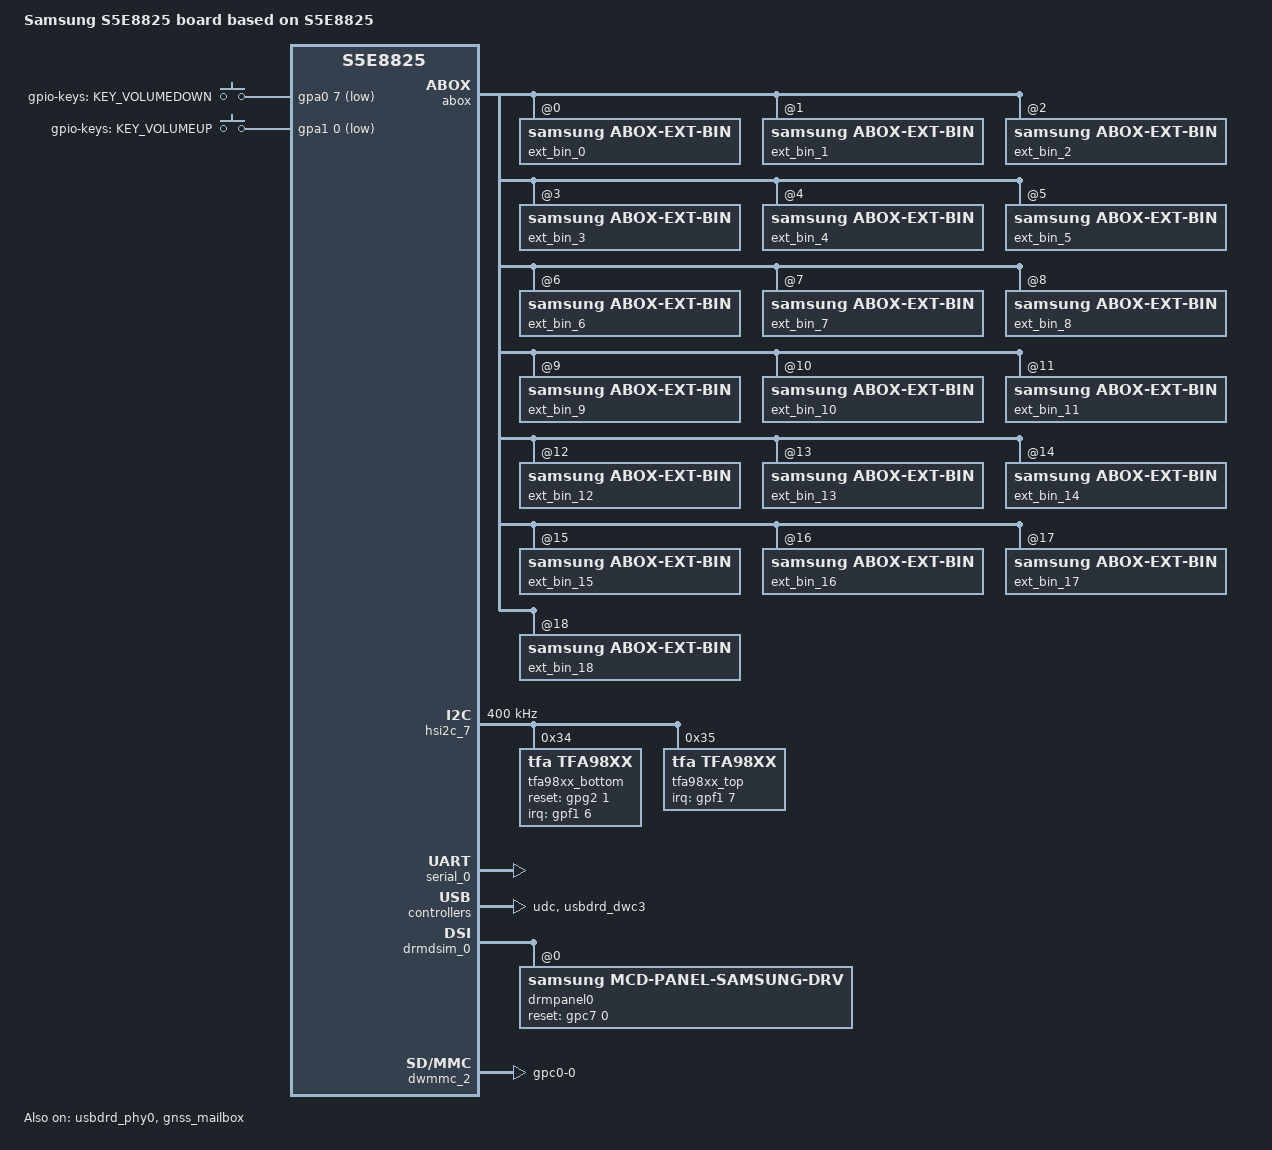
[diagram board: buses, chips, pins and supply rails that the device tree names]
/*
 * SAMSUNG S5E8825 SoC device tree source
 *
 * Copyright (c) 2020 Samsung Electronics Co., Ltd.
 *             http://www.samsung.com
 *
 * SAMSUNG S5E8825 SoC device nodes are listed in this file.
 * EXYNOS based board files can include this file and provide
 * values for board specfic bindings.
 *
 * This program is free software; you can redistribute it and/or modify
 * it under the terms of the GNU General Public License version 2 as
 * published by the Free Software Foundation.
 */

#include <dt-bindings/interrupt-controller/s5e8825.h>
#include <dt-bindings/gpio/gpio.h>
#include "../../exynos/board/univ/s5e8825-universal8825-cp-s5308ap-sipc.dtsi"
#include "../../exynos/board/univ/s5e8825-universal8825-dit.dtsi"
#include "../s5e8825_common.dtsi"
#include "../exynos_gpio_config_macros.dtsi"
#include "s5e8825-a53x_freq_hop.dtsi"
#include "../s5e8825-dsim_pll_timing.dtsi"
#include "../s5e8825_wakeup_cpu_allocator.dtsi"
#include "../s5e8825-argos.dtsi"

#define BOARD_ID        0x1

/ {
	compatible = "samsung,armv8", "samsung,s5e8825";
	board_id = <BOARD_ID>;
	board_rev = <0x0>;
	edtbo-rev = <0x0>;

	fragment@model {
		target-path = "/";
		__overlay__ {
			#address-cells = <2>;
			#size-cells = <1>;

			model = "Samsung S5E8825 board based on S5E8825";

			gpio_keys {
				status = "okay";
				compatible = "gpio-keys";
				pinctrl-names = "default";
				pinctrl-0 = <&key_voldown &key_volup>;

				button@2 {
					label = "gpio-keys: KEY_VOLUMEDOWN";
					linux,code = <114>;
					gpios = <&gpa0 7 0xf>;
					gpio-key,wakeup;
					debounce-interval = <0x0f>;
				};
				button@3 {
					label = "gpio-keys: KEY_VOLUMEUP";
					linux,code = <115>;
					gpios = <&gpa1 0 0xf>;
					gpio-key,wakeup;
					debounce-interval = <0x0f>;
				};
			};

			sec-reboot {
				compatible = "samsung,sec-reboot";
				samsung,syscon-phandle = <&pmu_system_controller>;
				shutdown-offset = <0x030C>; /* PS_HOLD_CONTROL */
				shutdown-trigger = <0x100>; /* PS_HOLD_DATA_BIT */
				magic-inform = <0x0808>; /* INFORM2 */
				panic-inform = <0x080C>; /* INFORM3 */
			};

			usb_hs_tune:hs_tune {
				hs_tune_cnt = <7>;
				/* value = <device host> */
				hs_tune1 {
					tune_name = "tx_pre_emp";
					tune_value = <0x1 0x1>;
				};

				hs_tune2 {
					tune_name = "tx_vref";
					tune_value = <0xA 0xA>;
				};

				hs_tune3 {
					tune_name = "rx_sqrx";
					tune_value = <0x5 0x5>;
				};

				hs_tune4 {
					tune_name = "utmi_clk";
					tune_value = <0x1 0x1>;
				};

				hs_tune5 {
					tune_name = "compdis";
					tune_value = <0x7 0x7>;
				};

				hs_tune6 {
					tune_name = "tx_res";
					tune_value = <0x3 0x3>;
				};

				hs_tune7 {
					tune_name = "tx_rise";
					tune_value = <0x1 0x1>;
				};
			};

			gnss_mailbox: gnss_mailbox {
				status = "okay";
				compatible = "samsung,exynos-gnss-mailbox";
				reg = <0x0 0x11980000 0x200>; /* MAILBOX AP2GNSS */
				interrupt-parent = <&gic>;
				interrupts = <GIC_SPI INTREQ__MAILBOX_GNSS2AP IRQ_TYPE_LEVEL_HIGH>;
				mbox,name = "gnss_mailbox";
				mbox,id = <0>;
				num_shared_reg = <4>;
				shared_reg_offset = <0x100>;
				use_sw_reset_reg = <0>;
			};

			gnssif {
				status = "okay";
				compatible = "samsung,exynos-gnss";
				interrupt-parent = <&gic>;
				interrupts = <GIC_SPI INTREQ__ALIVE_GNSS_ACTIVE IRQ_TYPE_LEVEL_HIGH>,
					<GIC_SPI INTREQ__GNSS_WDOG_RESET IRQ_TYPE_EDGE_RISING>,
					<GIC_SPI INTREQ__GNSS_WAKEUP_INT IRQ_TYPE_LEVEL_HIGH>,
					<GIC_SPI INTREQ__GNSS_SW_INT IRQ_TYPE_EDGE_RISING>;
				interrupt-names = "ACTIVE", "WATCHDOG", "WAKEUP", "SW_INIT";
				shmem,name = "KEPLER";
				device_node_name = "gnss_ipc";
				/* Mailbox */
				mbox_info = <&gnss_mailbox>;
				/* ap2gnss */
				mbx,int_bcmd = <0>;
				mbx,int_req_fault_info = <1>;
				mbx,int_ipc_msg = <2>;
				mbx,int_ack_wake_set = <3>;
				mbx,int_ack_wake_clr = <4>;
				/* gnss2ap */
				mbx,irq_bcmd = <0>;
				mbx,irq_rsp_fault_info = <1>;
				mbx,irq_ipc_msg = <2>;
				mbx,irq_req_wake_clr = <4>;
				mbx,irq_simple_lock = <15>;
				mbx,reg_bcmd_ctrl = <0>, <1>, <2>, <3>;
				/* Memory */
				memory-region = <&gnss_rmem>;
				reg_rx_ipc_msg = <1 5>;
				reg_tx_ipc_msg = <1 4>;
				reg_rx_head = <1 3>;
				reg_rx_tail = <1 2>;
				reg_tx_head = <1 1>;
				reg_tx_tail = <1 0>;
				fault_info = <1 0x200000 0x180000>;
				shmem,code_offset = <0x00000000>;
				shmem,code_allowed_size = <0x00380000>;
				shmem,ipc_offset = <0x00380000>;
				shmem,ipc_size = <0x00080000>;
				shmem,ipc_rx_offset = <0x00000000>;
				shmem,ipc_rx_size = <0x00040000>;
				shmem,ipc_tx_offset = <0x00040000>;
				shmem,ipc_tx_size = <0x0003FF80>;
				shmem,ipc_reg_offset = <0x0007FF80>;
				shmem,ipc_reg_size = <0x00000080>; /* can afford 32 regs */
			}; /* end of gnssif */

			dummy_audio_codec: audio-codec-dummy {
				compatible = "snd-soc-dummy";
				#sound-dai-cells = <0>;
			};

			dummy_audio_cpu: audio-cpu-dummy {
				compatible = "samsung,dummy-cpu";
				#sound-dai-cells = <0>;
			};

			abox_synchronized_ipc: abox_synchronized_ipc {
				compatible = "samsung,abox-synchronized-ipc";
				#sound-dai-cells = <1>;
				abox = <&abox>;
			};

			sec-audio-sysfs {
				compatible = "samsung,audio-sysfs";
				status = "okay";
				audio,no-earjack;
				audio,num-amp = <2>;
			};

			sec-audio-debug {
				compatible = "samsung,audio-debug";
				status = "okay";
				abox_dbg_size_min = <0x600000>;
				abox_slog_size_min = <0x0>;
			};

			sound {
				compatible = "samsung,exynos8825-audio";

				samsung,routing =
					"PAD DPDM", "DMIC1",
					"PAD DPDM", "DMIC2",
					"BLUETOOTH SPK", "ABOX UAIF3 Playback",
					"ABOX UAIF3 Capture", "BLUETOOTH MIC",
					"USB SPK", "ABOX USB Playback",
					"ABOX USB Capture", "USB MIC",
					"FWD SPK", "ABOX FWD Playback",
					"ABOX FWD Capture", "FWD MIC",
					"VTS Virtual Output", "VTS Virtual Output Mux",
					"ABOX SPDY Capture", "VINPUT_FM";

				samsung,aux = <&abox_effect &abox_tplg>;

				rdma0 {
					cpu {
						sound-dai = <&abox_rdma_0 0>;
					};
					platform {
						sound-dai = <&abox_rdma_0 0>;
					};
				};
				rdma1 {
					cpu {
						sound-dai = <&abox_rdma_1 0>;
					};
					platform {
						sound-dai = <&abox_rdma_1 0>;
					};
				};
				rdma2 {
					cpu {
						sound-dai = <&abox_rdma_2 0>;
					};
					platform {
						sound-dai = <&abox_rdma_2 0>;
					};
				};
				rdma3 {
					cpu {
						sound-dai = <&abox_rdma_3 0>;
					};
					platform {
						sound-dai = <&abox_rdma_3 0>;
					};
				};
				rdma4 {
					cpu {
						sound-dai = <&abox_rdma_4 0>;
					};
					platform {
						sound-dai = <&abox_rdma_4 0>;
					};
				};
				rdma5 {
					cpu {
						sound-dai = <&abox_rdma_5 0>;
					};
					platform {
						sound-dai = <&abox_rdma_5 0>;
					};
				};
				rdma6 {
					cpu {
						sound-dai = <&abox_rdma_6 0>;
					};
					platform {
						sound-dai = <&abox_rdma_6 0>;
					};
				};
				rdma7 {
					cpu {
						sound-dai = <&abox_rdma_7 0>;
					};
					platform {
						sound-dai = <&abox_rdma_7 0>;
					};
				};
				rdma8 {
					cpu {
						sound-dai = <&abox_rdma_8 0>;
					};
					platform {
						sound-dai = <&abox_rdma_8 0>;
					};
				};
				rdma9 {
					cpu {
						sound-dai = <&abox_rdma_9 0>;
					};
					platform {
						sound-dai = <&abox_rdma_9 0>;
					};
				};
				rdma10 {
					cpu {
						sound-dai = <&abox_rdma_10 0>;
					};
					platform {
						sound-dai = <&abox_rdma_10 0>;
					};
				};
				rdma11 {
					cpu {
						sound-dai = <&abox_rdma_11 0>;
					};
					platform {
						sound-dai = <&abox_rdma_11 0>;
					};
				};
				wdma0 {
					cpu {
						sound-dai = <&abox_wdma_0 0>;
					};
					platform {
						sound-dai = <&abox_wdma_0 0>;
					};
				};
				wdma1 {
					cpu {
						sound-dai = <&abox_wdma_1 0>;
					};
					platform {
						sound-dai = <&abox_wdma_1 0>;
					};
				};
				wdma2 {
					cpu {
						sound-dai = <&abox_wdma_2 0>;
					};
					platform {
						sound-dai = <&abox_wdma_2 0>;
					};
				};
				wdma3 {
					cpu {
						sound-dai = <&abox_wdma_3 0>;
					};
					platform {
						sound-dai = <&abox_wdma_3 0>;
					};
				};
				wdma4 {
					cpu {
						sound-dai = <&abox_wdma_4 0>;
					};
					platform {
						sound-dai = <&abox_wdma_4 0>;
					};
				};
				wdma5 {
					cpu {
						sound-dai = <&abox_wdma_5 0>;
					};
					platform {
						sound-dai = <&abox_wdma_5 0>;
					};
				};
				wdma6 {
					cpu {
						sound-dai = <&abox_wdma_6 0>;
					};
					platform {
						sound-dai = <&abox_wdma_6 0>;
					};
				};
				wdma7 {
					cpu {
						sound-dai = <&abox_wdma_7 0>;
					};
					platform {
						sound-dai = <&abox_wdma_7 0>;
					};
				};
				wdma8 {
					cpu {
						sound-dai = <&abox_wdma_8 0>;
					};
					platform {
						sound-dai = <&abox_wdma_8 0>;
					};
				};
				wdma9 {
					cpu {
						sound-dai = <&abox_wdma_9 0>;
					};
					platform {
						sound-dai = <&abox_wdma_9 0>;
					};
				};
				wdma10 {
					cpu {
						sound-dai = <&abox_wdma_10 0>;
					};
					platform {
						sound-dai = <&abox_wdma_10 0>;
					};
				};
				wdma11 {
					cpu {
						sound-dai = <&abox_wdma_11 0>;
					};
					platform {
						sound-dai = <&abox_wdma_11 0>;
					};
				};
				vts0 {
					cpu {
						sound-dai = <&vts 0>;
					};
					platform {
						sound-dai = <&vts_dma0>;
					};
				};
				vts1 {
					cpu {
						sound-dai = <&vts 1>;
					};
					platform {
						sound-dai = <&vts_dma1>;
					};
				};
/*
				dp0_audio {
					cpu {
						sound-dai = <&displayport_adma 0>;
					};
					platform {
						sound-dai = <&dp_dma0>;
					};
				};
				dp1_audio {
					cpu {
						sound-dai = <&displayport_adma 1 >;
					};
					platform {
						sound-dai = <&dp_dma1>;
					};
				};
*/
				dual0 {
					cpu {
						sound-dai = <&abox_dual_0>;
					};
					platform {
						sound-dai = <&abox_dual_0>;
					};
				};
				dual1 {
					cpu {
						sound-dai = <&abox_dual_1>;
					};
					platform {
						sound-dai = <&abox_dual_1>;
					};
				};
				dual2 {
					cpu {
						sound-dai = <&abox_dual_2>;
					};
					platform {
						sound-dai = <&abox_dual_2>;
					};
				};
				dual3 {
					cpu {
						sound-dai = <&abox_dual_3>;
					};
					platform {
						sound-dai = <&abox_dual_3>;
					};
				};
				dual4 {
					cpu {
						sound-dai = <&abox_dual_4>;
					};
					platform {
						sound-dai = <&abox_dual_4>;
					};
				};
				dual5 {
					cpu {
						sound-dai = <&abox_dual_5>;
					};
					platform {
						sound-dai = <&abox_dual_5>;
					};
				};
				dual6 {
					cpu {
						sound-dai = <&abox_dual_6>;
					};
					platform {
						sound-dai = <&abox_dual_6>;
					};
				};
				dual7 {
					cpu {
						sound-dai = <&abox_dual_7>;
					};
					platform {
						sound-dai = <&abox_dual_7>;
					};
				};
				dual8 {
					cpu {
						sound-dai = <&abox_dual_8>;
					};
					platform {
						sound-dai = <&abox_dual_8>;
					};
				};
				dual9 {
					cpu {
						sound-dai = <&abox_dual_9>;
					};
					platform {
						sound-dai = <&abox_dual_9>;
					};
				};
				dual10 {
					cpu {
						sound-dai = <&abox_dual_10>;
					};
					platform {
						sound-dai = <&abox_dual_10>;
					};
				};
				dual11 {
					cpu {
						sound-dai = <&abox_dual_11>;
					};
					platform {
						sound-dai = <&abox_dual_11>;
					};
				};
				ddma0 {
					cpu {
						sound-dai = <&abox_ddma_0>;
					};
					platform {
						sound-dai = <&abox_ddma_0>;
					};
				};
				ddma1 {
					cpu {
						sound-dai = <&abox_ddma_1>;
					};
					platform {
						sound-dai = <&abox_ddma_1>;
					};
				};
				ddma2 {
					cpu {
						sound-dai = <&abox_ddma_2>;
					};
					platform {
						sound-dai = <&abox_ddma_2>;
					};
				};
				ddma3 {
					cpu {
						sound-dai = <&abox_ddma_3>;
					};
					platform {
						sound-dai = <&abox_ddma_3>;
					};
				};
				ddma4 {
					cpu {
						sound-dai = <&abox_ddma_4>;
					};
					platform {
						sound-dai = <&abox_ddma_4>;
					};
				};
				ddma5 {
					cpu {
						sound-dai = <&abox_ddma_5>;
					};
					platform {
						sound-dai = <&abox_ddma_5>;
					};
				};
				uaif0 {
					format = "i2s";
					cpu {
						sound-dai = <&abox_uaif_0>;
					};
				};
				uaif1 {
					format = "i2s";
					cpu {
						sound-dai = <&abox_uaif_1>;
					};
					codec {
						sound-dai = <&tfa98xx_bottom 0 &tfa98xx_top 0>;
					};
				};
				uaif2 {
					format = "dsp_a";
					cpu {
						sound-dai = <&abox_uaif_2>;
					};
				};
				uaif3 {
					format = "i2s";
					bitclock-master;
					frame-master;
					cpu {
						sound-dai = <&abox_uaif_3>;
					};
				};
				uaif4 {
					format = "dsp_a";
					cpu {
						sound-dai = <&abox_uaif_4>;
					};
				};
				uaif5 {
					format = "dsp_a";
					cpu {
						sound-dai = <&abox_uaif_5>;
					};
				};
				uaif6 {
					format = "dsp_a";
					bitclock-master;
					bitclock-inversion;
					frame-master;

					cpu {
						sound-dai = <&abox_uaif_6>;
					};
					codec {
						sound-dai = <&vts_s_lif 0>;
					};
				};
				dsif0 {
					format = "pdm";
					cpu {
						sound-dai = <&abox_dsif>;
					};
				};
				spdy {
					cpu {
						sound-dai = <&abox_spdy>;
					};
				};
				udma_rd0 {
					cpu {
						sound-dai = <&abox_udma_rd_0>;
					};
				};
				udma_rd1 {
					cpu {
						sound-dai = <&abox_udma_rd_1>;
					};
				};
				udma_wr0 {
					cpu {
						sound-dai = <&abox_udma_wr_0>;
					};
				};
				udma_wr1 {
					cpu {
						sound-dai = <&abox_udma_wr_1>;
					};
				};
				udma_wr_dual0 {
					cpu {
						sound-dai = <&abox_udma_wr_dual_0>;
					};
				};
				udma_wr_dual1 {
					cpu {
						sound-dai = <&abox_udma_wr_dual_1>;
					};
				};
				udma_wr_dbg0 {
					cpu {
						sound-dai = <&abox_udma_wr_debug_0>;
					};
				};
				rdma0_be {
					cpu {
						sound-dai = <&abox_rdma_0 1>;
					};
					platform {
						sound-dai = <&abox_rdma_0 1>;
					};
				};
				rdma1_be {
					cpu {
						sound-dai = <&abox_rdma_1 1>;
					};
					platform {
						sound-dai = <&abox_rdma_1 1>;
					};
				};
				rdma2_be {
					cpu {
						sound-dai = <&abox_rdma_2 1>;
					};
					platform {
						sound-dai = <&abox_rdma_2 1>;
					};
				};
				rdma3_be {
					cpu {
						sound-dai = <&abox_rdma_3 1>;
					};
					platform {
						sound-dai = <&abox_rdma_3 1>;
					};
				};
				rdma4_be {
					cpu {
						sound-dai = <&abox_rdma_4 1>;
					};
					platform {
						sound-dai = <&abox_rdma_4 1>;
					};
				};
				rdma5_be {
					cpu {
						sound-dai = <&abox_rdma_5 1>;
					};
					platform {
						sound-dai = <&abox_rdma_5 1>;
					};
				};
				rdma6_be {
					cpu {
						sound-dai = <&abox_rdma_6 1>;
					};
					platform {
						sound-dai = <&abox_rdma_6 1>;
					};
				};
				rdma7_be {
					cpu {
						sound-dai = <&abox_rdma_7 1>;
					};
					platform {
						sound-dai = <&abox_rdma_7 1>;
					};
				};
				rdma8_be {
					cpu {
						sound-dai = <&abox_rdma_8 1>;
					};
					platform {
						sound-dai = <&abox_rdma_8 1>;
					};
				};
				rdma9_be {
					cpu {
						sound-dai = <&abox_rdma_9 1>;
					};
					platform {
						sound-dai = <&abox_rdma_9 1>;
					};
				};
				rdma10_be {
					cpu {
						sound-dai = <&abox_rdma_10 1>;
					};
					platform {
						sound-dai = <&abox_rdma_10 1>;
					};
				};
				rdma11_be {
					cpu {
						sound-dai = <&abox_rdma_11 1>;
					};
					platform {
						sound-dai = <&abox_rdma_11 1>;
					};
				};
				wdma0_be {
					cpu {
						sound-dai = <&abox_wdma_0 1>;
					};
					platform {
						sound-dai = <&abox_wdma_0 1>;
					};
				};
				wdma1_be {
					cpu {
						sound-dai = <&abox_wdma_1 1>;
					};
					platform {
						sound-dai = <&abox_wdma_1 1>;
					};
				};
				wdma2_be {
					cpu {
						sound-dai = <&abox_wdma_2 1>;
					};
					platform {
						sound-dai = <&abox_wdma_2 1>;
					};
				};
				wdma3_be {
					cpu {
						sound-dai = <&abox_wdma_3 1>;
					};
					platform {
						sound-dai = <&abox_wdma_3 1>;
					};
				};
				wdma4_be {
					cpu {
						sound-dai = <&abox_wdma_4 1>;
					};
					platform {
						sound-dai = <&abox_wdma_4 1>;
					};
				};
				wdma5_be {
					cpu {
						sound-dai = <&abox_wdma_5 1>;
					};
					platform {
						sound-dai = <&abox_wdma_5 1>;
					};
				};
				wdma6_be {
					cpu {
						sound-dai = <&abox_wdma_6 1>;
					};
					platform {
						sound-dai = <&abox_wdma_6 1>;
					};
				};
				wdma7_be {
					cpu {
						sound-dai = <&abox_wdma_7 1>;
					};
					platform {
						sound-dai = <&abox_wdma_7 1>;
					};
				};
				wdma8_be {
					cpu {
						sound-dai = <&abox_wdma_8 1>;
					};
					platform {
						sound-dai = <&abox_wdma_8 1>;
					};
				};
				wdma9_be {
					cpu {
						sound-dai = <&abox_wdma_9 1>;
					};
					platform {
						sound-dai = <&abox_wdma_9 1>;
					};
				};
				wdma10_be {
					cpu {
						sound-dai = <&abox_wdma_10 1>;
					};
					platform {
						sound-dai = <&abox_wdma_10 1>;
					};
				};
				wdma11_be {
					cpu {
						sound-dai = <&abox_wdma_11 1>;
					};
					platform {
						sound-dai = <&abox_wdma_11 1>;
					};
				};
				usb {
					cpu {
						sound-dai = <&abox 0>;
					};
				};
				fwd {
					cpu {
						sound-dai = <&abox 1>;
					};
				};
			}; /* end of sound */

			fm@14E90000 {
				status = "disabled";
			};
		};
	};
};

&ufs {
	vcc-supply = <&s_l24_reg>;
	vccq2-supply = <&l27_reg>;
};

&abox {
	ext_bin_0: ext-bin@0 {
		compatible = "samsung,abox-ext-bin";
		samsung,name = "dax_param.bin";
		samsung,area = <1>;
		samsung,offset = <0x510000>;
		samsung,changable;
	};

	ext_bin_1: ext-bin@1 {
		compatible = "samsung,abox-ext-bin";
		samsung,name = "AP_AUDIO_SLSI.bin";
		samsung,area = <1>;
		samsung,offset = <0x52e000>;
		samsung,changable;
	};

	ext_bin_2: ext-bin@2 {
		compatible = "samsung,abox-ext-bin";
		samsung,name = "APBargeIn_AUDIO_SLSI.bin";
		samsung,area = <1>;
		samsung,offset = <0x5da800>;
		samsung,changable;
	};

	ext_bin_3: ext-bin@3 {
		compatible = "samsung,abox-ext-bin";
		samsung,name = "APBiBF_AUDIO_SLSI.bin";
		samsung,area = <1>;
		samsung,offset = <0x5dd800>;
		samsung,changable;
	};

	ext_bin_4: ext-bin@4 {
		compatible = "samsung,abox-ext-bin";
		samsung,name = "APDV_AUDIO_SLSI.bin";
		samsung,area = <1>;
		samsung,offset = <0x5de800>;
		samsung,changable;
	};

	ext_bin_5: ext-bin@5 {
		compatible = "samsung,abox-ext-bin";
		samsung,name = "SoundBoosterParam.bin";
		samsung,area = <1>;
		samsung,offset = <0x65e800>;
		samsung,changable;
	};

	ext_bin_6: ext-bin@6 {
		compatible = "samsung,abox-ext-bin";
		samsung,name = "atune.bin";
		samsung,area = <1>;
		samsung,offset = <0x662800>;
		samsung,changable;
	};

	ext_bin_7: ext-bin@7 {
		compatible = "samsung,abox-ext-bin";
		samsung,name = "rxse.bin";
		samsung,area = <1>;
		samsung,offset = <0x6c5000>;
	};

	ext_bin_8: ext-bin@8 {
		compatible = "samsung,abox-ext-bin";
		samsung,name = "avsyncmix.bin";
		samsung,area = <1>;
		samsung,offset = <0x7b7800>;
	};

	ext_bin_9: ext-bin@9 {
		compatible = "samsung,abox-ext-bin";
		samsung,name = "txse1.bin";
		samsung,area = <1>;
		samsung,offset = <0x1800000>;
	};

	ext_bin_10: ext-bin@10 {
		compatible = "samsung,abox-ext-bin";
		samsung,name = "txse2.bin";
		samsung,area = <1>;
		samsung,offset = <0x1e00000>;
	};

	ext_bin_11: ext-bin@11 {
		compatible = "samsung,abox-ext-bin";
		samsung,name = "bidirmic.bin";
		samsung,area = <1>;
		samsung,offset = <0x1e72800>;
	};

	ext_bin_12: ext-bin@12 {
		compatible = "samsung,abox-ext-bin";
		samsung,name = "volumemonitor.bin";
		samsung,area = <1>;
		samsung,offset = <0x1f27800>;
	};

	ext_bin_13: ext-bin@13 {
		compatible = "samsung,abox-ext-bin";
		samsung,name = "sb_others.bin";
		samsung,area = <1>;
		samsung,offset = <0x1f40800>;
	};

	ext_bin_14: ext-bin@14 {
		compatible = "samsung,abox-ext-bin";
		samsung,name = "listenbackeffect.bin";
		samsung,area = <1>;
		samsung,offset = <0x206c800>;
	};

	ext_bin_15: ext-bin@15 {
		compatible = "samsung,abox-ext-bin";
		samsung,name = "a2dpcom.bin";
		samsung,area = <1>;
		samsung,offset = <0x20d0800>;
	};

	ext_bin_16: ext-bin@16 {
		compatible = "samsung,abox-ext-bin";
		samsung,name = "dolby.bin";
		samsung,area = <1>;
		samsung,offset = <0x2c0000>;
	};

	ext_bin_17: ext-bin@17 {
		compatible = "samsung,abox-ext-bin";
		samsung,name = "tfa9878.bin";
		samsung,area = <1>;
		samsung,offset = <0x1480000>;
	};

	ext_bin_18: ext-bin@18 {
		compatible = "samsung,abox-ext-bin";
		samsung,name = "sb_music.bin";
		samsung,area = <1>;
		samsung,offset = <0x2250800>;
	};
};

&abox_uaif_2 {
	pinctrl-names;
};

&abox_uaif_3 {
	pinctrl-names;
};

&vts {
	pinctrl-names = "dmic0_default",
		"dmic1_default",
		"dmic2_default",
		"amic0_default",
		"amic1_default",
		"amic2_default",
		"dmic0_idle",
		"dmic1_idle",
		"dmic2_idle",
		"default";
	pinctrl-0 = <&dmic_bus_clk0 &dmic_pdm0_bus &dmic_en>;
	pinctrl-1 = <&dmic_bus_clk2 &dmic_pdm2_bus &dmic_en>;
	pinctrl-2 = <&dmic_bus_clk2 &dmic_pdm2_bus>;
	pinctrl-3 = <&dmic_bus_clk0 &amic_pdm0_bus>;
	pinctrl-4 = <&dmic_bus_clk1 &amic_pdm1_bus>;
	pinctrl-5 = <&dmic_bus_clk2 &amic_pdm2_bus>;
	pinctrl-6 = <&dmic_bus_clk0_idle &dmic_pdm0_idle &dmic_en_idle>;
	pinctrl-7 = <&dmic_bus_clk2_idle &dmic_pdm2_idle &dmic_en_idle>;
	pinctrl-8 = <&dmic_bus_clk2_idle &dmic_pdm2_idle>;
	pinctrl-9 = <>;
};

&pinctrl_6 {
	amp_en: amp-en {
		samsung,pins ="gpg2-1";
		samsung,pin-function = <1>;
		samsung,pin-val = <1>;
		samsung,pin-pud = <0>;
		samsung,pin-con-pdn = <3>;
		samsung,pin-pud-pdn = <0>;
	};
};

&pinctrl_4 {
	rcv_amp_int: rcv-amp-int {
		samsung,pins ="gpf1-7";
		samsung,pin-function = <0xf>;
		samsung,pin-pud = <0>;
		samsung,pin-pud-pdn = <0>;
	};

	spk_amp_int: spk-amp-int {
		samsung,pins ="gpf1-6";
		samsung,pin-function = <0xf>;
		samsung,pin-pud = <0>;
		samsung,pin-pud-pdn = <0>;
	};
};

&hsi2c_7 {
	#address-cells = <1>;
	#size-cells = <0>;
	status = "okay";
	clock-frequency = <400000>;

	tfa98xx_bottom: tfa98xx@34 {
		#sound-dai-cells = <1>;
		compatible = "tfa,tfa98xx";
		reg = <0x34>;

		pinctrl-names = "default";
		pinctrl-0 = <&amp_en &spk_amp_int>;

		reset-gpio = <&gpg2 1 0>;
		irq-gpio = <&gpf1 6 0>;

		dummy-cal = <5800>;
	};

	tfa98xx_top: tfa98xx@35 {
		#sound-dai-cells = <1>;
		compatible = "tfa,tfa98xx";
		reg = <0x35>;

		pinctrl-names = "default";
		pinctrl-0 = <&rcv_amp_int>;

		irq-gpio = <&gpf1 7 0>;

		dummy-cal = <6200>;
	};
};

&serial_0 {
	status = "okay";
};

&udc {
	status = "okay";
	dwc3 {
		dr_mode = "peripheral";
		maximum-speed = "high-speed";
	};
};

&usbdrd_dwc3 {
       status = "okay";
       maximum-speed = "high-speed";
       usb_audio_offloading = <1>;
       abox = <&abox>;
       xhci_l2_support = <1>;
       xhci_use_uram_for_audio = <1>;
       vdd33_usb-supply = <&s_l8_reg>;
};

&usbdrd_phy0 {
	status = "okay";
	use_default_tune_val = <0x1>;
	hs_tune_param = <&usb_hs_tune>;
	vdd33_usb-supply = <&s_l8_reg>;
};

&pinctrl_0
{
	attn_irq: attn-irq {
		samsung,pins = "gpa0-3";
		samsung,pin-function = <0xf>;
		samsung,pin-pud = <3>;
		samsung,pin-drv = <3>;
	};

	attn_input: attn-input {
		samsung,pins = "gpa0-3";
		samsung,pin-function = <0>;
		samsung,pin-pud = <1>;
	};

	key_voldown: key-voldown {
		samsung,pins = "gpa0-7";
		samsung,pin-function = <0xf>;
		samsung,pin-pud = <3>;
		samsung,pin-drv = <3>;
	};

	key_volup: key-volup {
		samsung,pins = "gpa1-0";
		samsung,pin-function = <0xf>;
		samsung,pin-pud = <3>;
		samsung,pin-drv = <3>;
	};

	dmic_en: dmic-en {
		samsung,pins = "gpc2-0";
		samsung,pin-function = <1>;
		samsung,pin-pud = <0>;
		samsung,pin-val = <1>;
	};

	dmic_en_idle: dmic-en-idle {
		samsung,pins = "gpc2-0";
		samsung,pin-function = <1>;
		samsung,pin-pud = <0>;
		samsung,pin-val = <0>;
	};

	dwmmc2_cd_ext_irq: dwmmc2_cd_ext_irq {
		samsung,pins = "gpc0-0";
		samsung,pin-function = <0xf>;
		samsung,pin-pud = <0>;
		samsung,pin-drv = <3>;
	};
};

&drmdsim_0 {
	#address-cells = <1>;
	#size-cells = <0>;

	freq-hop-table = <&a53x_freq_hop_table>;
	hs_pll_timing = <&dsim_hs_pll_timing>;

	drmpanel0: drmpanel {
		compatible = "samsung,mcd-panel-samsung-drv";
		/* reset, power */
		reset-gpios = <&gpc7 0 GPIO_ACTIVE_HIGH>;
		reg = <0>;
	};
};

&dwmmc_2 {
	#address-cells = <1>;
	#size-cells = <0>;
	status = "okay";
	num-slots = <1>;
	supports-4bit;
	supports-cmd23;
	supports-erase;
	supports-highspeed;
	sd-uhs-sdr50;
	sd-uhs-sdr104;
	card-detect-gpio;
	bypass-for-allpass;
	use-fine-tuning;
	use-phase-detect;
	card-init-hwacg-ctrl;
	skip-init-mmc-scan;
	ssc-rate-mfr = <4>;
	ssc-rate-mrr = <27>;
	qos-dvfs-level = <266000>;
	fifo-depth = <0x40>;
	desc-size = <4>;
	card-detect-delay = <200>;
	data-timeout = <200>;
	hto-timeout = <80>;
	samsung,dw-mshc-ciu-div = <3>;
	clock-frequency = <800000000>;
	samsung,dw-mshc-sdr-timing = <3 0 2 1>;
	samsung,dw-mshc-ddr-timing = <3 0 2 1>;
	samsung,dw-mshc-sdr50-timing = <3 0 4 2>;
	samsung,dw-mshc-sdr104-timing = <3 0 3 0>;

	num-ref-clks = <9>;
	ciu_clkin = <25 50 50 25 50 100 200 50 50>;

	sec-sd-slot-type = <2>; /* Hybrid Tray SD slot */

	/* Swapping clock drive strength */
	clk-drive-number = <6>;
	pinctrl-names = "default",
			"fast-slew-rate-1x",
			"fast-slew-rate-2x",
			"fast-slew-rate-3x",
			"fast-slew-rate-4x",
			"fast-slew-rate-5x",
			"fast-slew-rate-6x";
	pinctrl-0 = <&sd2_clk &sd2_cmd &sd2_bus1 &sd2_bus4 &dwmmc2_cd_ext_irq>;
	pinctrl-1 = <&sd2_clk_fast_slew_rate_1x>;
	pinctrl-2 = <&sd2_clk_fast_slew_rate_2x>;
	pinctrl-3 = <&sd2_clk_fast_slew_rate_3x>;
	pinctrl-4 = <&sd2_clk_fast_slew_rate_4x>;
	pinctrl-5 = <&sd2_clk_fast_slew_rate_5x>;
	pinctrl-6 = <&sd2_clk_fast_slew_rate_6x>;

	card-detect = <&gpc0 0 0xf>;
	slot@0 {
		reg = <0>;
		bus-width = <4>;
		disable-wp;
	};
};

&pinctrl_6 {
		sensor_mclk0_out: sensor-mclk0-out {
			samsung,pins = "gpg0-2";
			samsung,pin-function = <1>;
			samsung,pin-pud = <1>;
			samsung,pin-drv = <0>;
			samsung,pin-con-pdn = <2>;
			samsung,pin-pud-pdn = <1>;
		};

		sensor_mclk1_out: sensor-mclk1-out {
			samsung,pins = "gpg0-3";
			samsung,pin-function = <1>;
			samsung,pin-pud = <1>;
			samsung,pin-drv = <0>;
			samsung,pin-con-pdn = <2>;
			samsung,pin-pud-pdn = <1>;
		};

		sensor_mclk2_out: sensor-mclk2-out {
			samsung,pins = "gpg0-4";
			samsung,pin-function = <1>;
			samsung,pin-pud = <1>;
			samsung,pin-drv = <0>;
			samsung,pin-con-pdn = <2>;
			samsung,pin-pud-pdn = <1>;
		};
};
